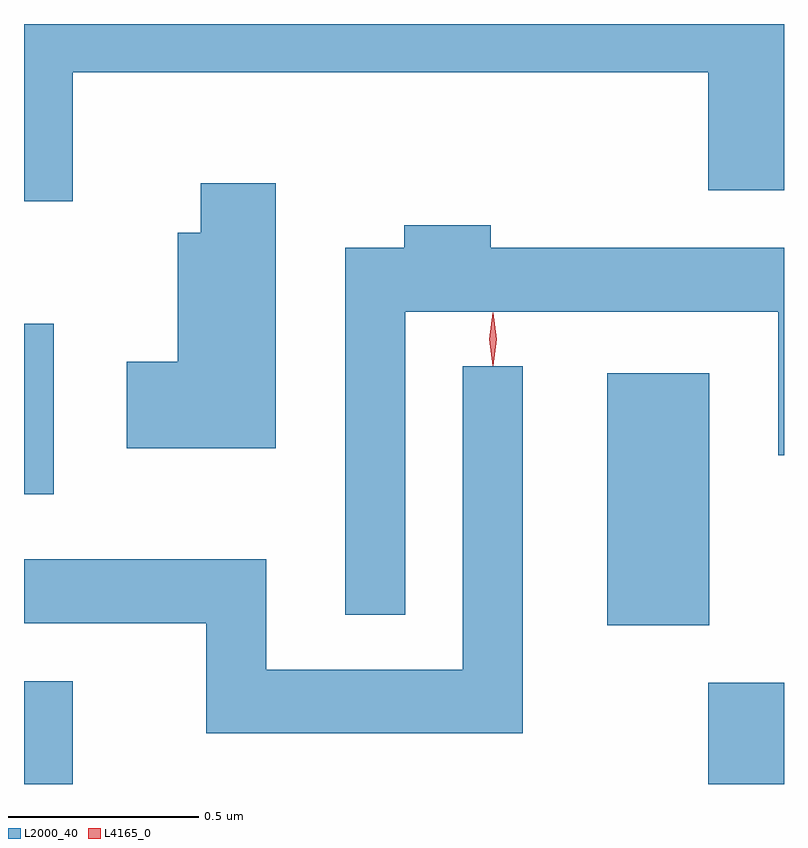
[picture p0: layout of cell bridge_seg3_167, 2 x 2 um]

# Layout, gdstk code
import gdstk
lib = gdstk.Library(unit=1e-6, precision=1e-09)
def R(c, l, rs):  # rectangles x0, y0, x1, y1
    for r in rs: c.add(gdstk.rectangle(r[:2], r[2:], *l))
def P(c, l, *ps):  # polygons
    for p in ps: c.add(gdstk.Polygon(p, *l))
L2000_40 = (2000, 40)
L4165_0 = (4165, 0)

bridge_seg3_167 = lib.new_cell('bridge_seg3_167')
R(bridge_seg3_167, L2000_40, [(883.051,1217.383,883.179,1217.654), (884.851,1217.383,885.051,1217.649), (884.586,1217.801,884.854,1218.464), (883.051,1218.146,883.129,1218.594)])
P(bridge_seg3_167, L2000_40, [(883.179,1219.256),(884.851,1219.256),(884.851,1218.946),(885.051,1218.946),(885.051,1219.383),(883.051,1219.383),(883.051,1218.916),(883.179,1218.916)],
  [(883.714,1218.964),(883.516,1218.964),(883.516,1218.834),(883.456,1218.834),(883.456,1218.494),(883.321,1218.494),(883.321,1218.266),(883.714,1218.266)],
  [(884.054,1218.626),(885.036,1218.626),(885.036,1218.248),(885.051,1218.248),(885.051,1218.794),(884.279,1218.794),(884.279,1218.854),(884.051,1218.854),(884.051,1218.794),(883.896,1218.794),(883.896,1217.828),(884.054,1217.828)],
  [(884.364,1218.483),(884.206,1218.483),(884.206,1217.684),(883.689,1217.684),(883.689,1217.974),(883.051,1217.974),(883.051,1217.806),(883.531,1217.806),(883.531,1217.516),(884.364,1217.516)])
P(bridge_seg3_167, L4165_0, [(884.285,1218.484),(884.285,1218.484),(884.275,1218.553),(884.285,1218.623),(884.285,1218.623),(884.286,1218.623),(884.295,1218.553),(884.286,1218.484)])

lib.write_gds('bridge_seg3_167.gds')
